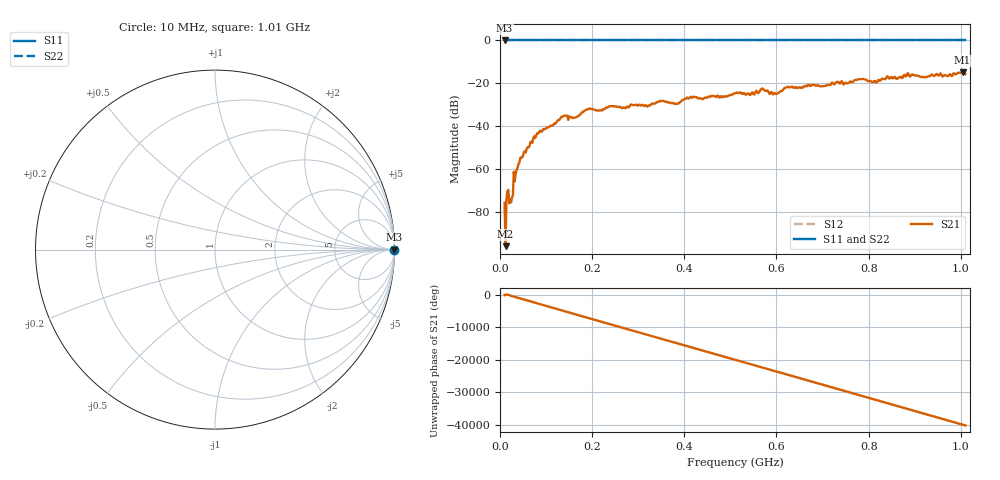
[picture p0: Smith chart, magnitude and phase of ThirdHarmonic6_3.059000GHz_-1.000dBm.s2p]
! 8/17/2025 8:54:36 AM
! C:\ANRITSUVNA\TEMP\TEMP.S2P
! CHANNEL.1
! TR.MEASUREMENT
! RAW.DATA
! RF.CORRECTION.OFF
! AVERAGING.OFF
! IF.BANDWIDTH: 5KHZ
! SWEEPTYPE:  FREQ.SWEEP(Linear)
! Reference Plane Port Info
! PORT:  PORT1  PORT2
! DISTANCE:  0  m  0  m
! TIME:  0  s  0  s
! PHASE.OFFSET:  0  deg.  0  deg.
! LOSS:  0  dB  0  dB
! REF.LOSS:  0  dB  0  dB
! REF.FREQ:  0  Hz  0  Hz
! Power Info
! POWER:  -20  dBm  -20  dBm
! EFF.POWER:  -20  dBm  -20  dBm
! SOURCE.ATTEN:  0  dB  0  dB
! TEST.ATTEN:  0  dB  0  dB
# GHZ S RI R 50.0
! FREQ.GHZ  S11RE  S11IM  S21RE  S21IM  S12RE  S12IM  S22RE  S22IM
!; PortSelection: Port_12
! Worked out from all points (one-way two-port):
!   501 points, 10 MHz to 1.01 GHz, reference 50 ohm
!   highest |S21| = -14.91 dB at 1.004 GHz (marker M1); lowest = -95.8 dB at 12 MHz (marker M2)
!   lowest |S11| = 0.0 dB at 10 MHz (marker M3)
!   |S11| at or under -10 dB: nowhere
!   |S22| runs from 0.0 to 0.0 dB; largest |S21 - S12| = 1.2
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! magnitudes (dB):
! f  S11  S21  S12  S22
! 10 MHz  0.0  -75.7  0.0  0.0
! 12 MHz  0.0  -95.8  0.0  0.0
! 18 MHz  0.0  -69.6  0.0  0.0
! 24 MHz  0.0  -75.4  0.0  0.0
! 34 MHz  0.0  -62.1  0.0  0.0
! 42 MHz  0.0  -56.9  0.0  0.0
! 76 MHz  0.0  -45.4  0.0  0.0
! 136 MHz  0.0  -35.5  0.0  0.0
! 162 MHz  0.0  -36.0  0.0  0.0
! 178 MHz  0.0  -33.4  0.0  0.0
! 344 MHz  0.0  -28.6  0.0  0.0
! 384 MHz  0.0  -29.4  0.0  0.0
! 416 MHz  0.0  -26.6  0.0  0.0
! 510 MHz  0.0  -24.6  0.0  0.0
! 570 MHz  0.0  -22.4  0.0  0.0
! 596 MHz  0.0  -24.5  0.0  0.0
! 622 MHz  0.0  -21.8  0.0  0.0
! 678 MHz  0.0  -20.7  0.0  0.0
! 814 MHz  0.0  -18.9  0.0  0.0
! 844 MHz  0.0  -17.7  0.0  0.0
! 1.004 GHz  0.0  -14.9  0.0  0.0
! 1.01 GHz  0.0  -15.6  0.0  0.0
